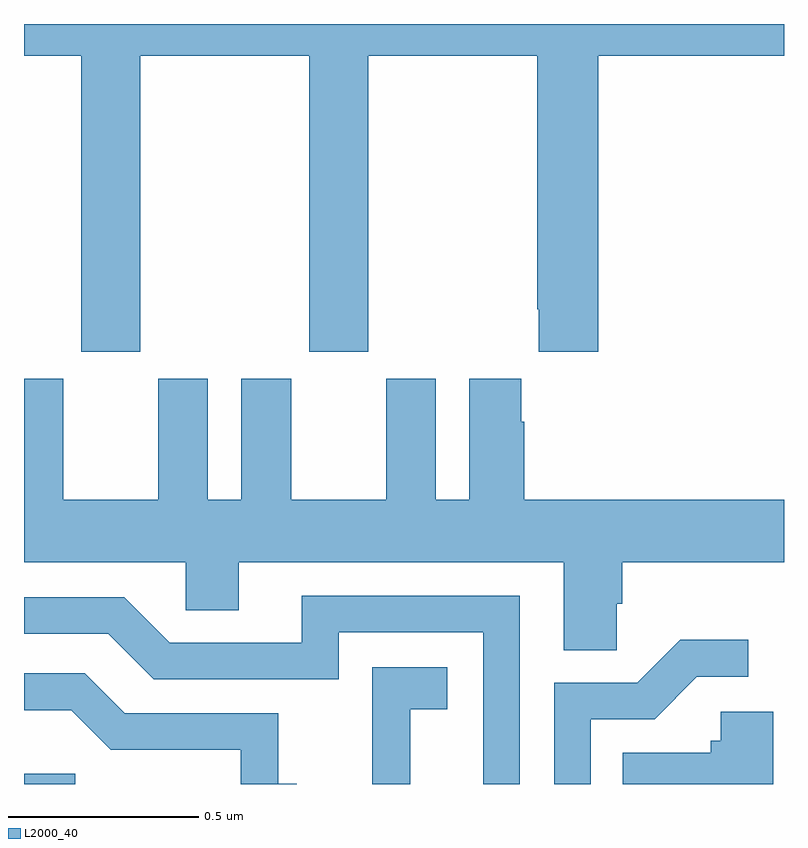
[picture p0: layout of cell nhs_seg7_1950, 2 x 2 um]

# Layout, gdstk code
import gdstk
lib = gdstk.Library(unit=1e-6, precision=1e-09)
def R(c, l, rs):  # rectangles x0, y0, x1, y1
    for r in rs: c.add(gdstk.rectangle(r[:2], r[2:], *l))
def P(c, l, *ps):  # polygons
    for p in ps: c.add(gdstk.Polygon(p, *l))
L2000_40 = (2000, 40)

nhs_seg7_1950 = lib.new_cell('nhs_seg7_1950')
R(nhs_seg7_1950, L2000_40, [(138,1032,138.135,1032.027)])
P(nhs_seg7_1950, L2000_40, [(138.306,1033.916),(138.751,1033.916),(138.751,1033.137),(138.906,1033.137),(138.906,1033.916),(139.351,1033.916),(139.351,1033.249),(139.355,1033.249),(139.355,1033.137),(139.511,1033.137),(139.511,1033.916),(140,1033.916),(140,1034),(138,1034),(138,1033.916),(138.151,1033.916),(138.151,1033.137),(138.306,1033.137)],
  [(138.953,1033.066),(138.953,1032.748),(138.703,1032.748),(138.703,1033.066),(138.572,1033.066),(138.572,1032.748),(138.484,1032.748),(138.484,1033.066),(138.353,1033.066),(138.353,1032.748),(138.103,1032.748),(138.103,1033.066),(138,1033.066),(138,1032.584),(138.426,1032.584),(138.426,1032.457),(138.565,1032.457),(138.565,1032.584),(139.421,1032.584),(139.421,1032.352),(139.56,1032.352),(139.56,1032.475),(139.574,1032.475),(139.574,1032.584),(140,1032.584),(140,1032.748),(139.316,1032.748),(139.316,1032.953),(139.309,1032.953),(139.309,1033.066),(139.172,1033.066),(139.172,1032.748),(139.084,1032.748),(139.084,1033.066)],
  [(139.305,1032.495),(138.731,1032.495),(138.731,1032.372),(138.384,1032.372),(138.264,1032.492),(138,1032.492),(138,1032.396),(138.222,1032.396),(138.342,1032.276),(138.828,1032.276),(138.828,1032.399),(139.209,1032.399),(139.209,1032),(139.305,1032)],
  [(139.491,1032.171),(139.66,1032.171),(139.771,1032.282),(139.906,1032.282),(139.906,1032.38),(139.727,1032.38),(139.614,1032.267),(139.395,1032.267),(139.395,1032),(139.491,1032)],
  [(139.016,1032.197),(139.114,1032.197),(139.114,1032.307),(138.916,1032.307),(138.916,1032.101),(138.917,1032.101),(138.917,1032),(139.016,1032)],
  [(138.718,1032.001),(138.669,1032.001),(138.669,1032.186),(138.265,1032.186),(138.16,1032.291),(138,1032.291),(138,1032.194),(138.124,1032.194),(138.228,1032.09),(138.57,1032.09),(138.57,1032),(138.718,1032)],
  [(139.972,1032.19),(139.833,1032.19),(139.833,1032.114),(139.807,1032.114),(139.807,1032.082),(139.576,1032.082),(139.576,1032),(139.972,1032)])

lib.write_gds('nhs_seg7_1950.gds')
